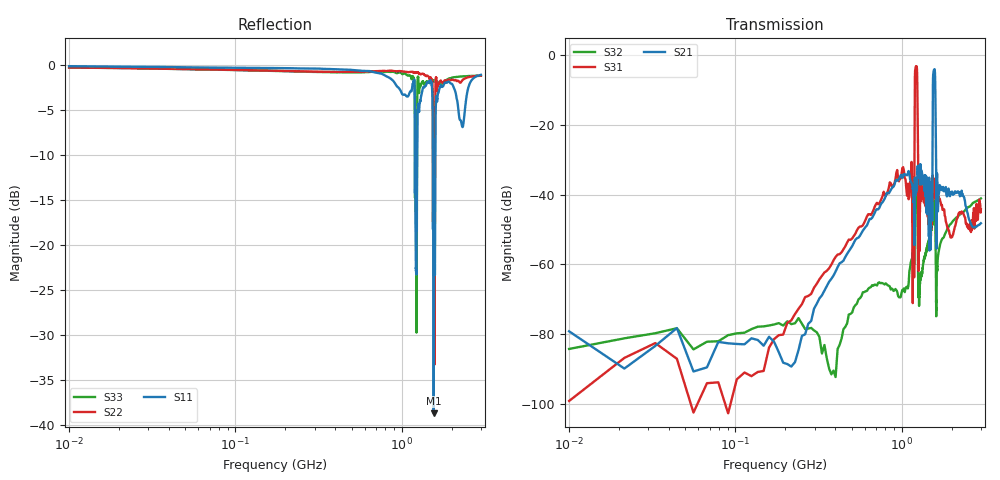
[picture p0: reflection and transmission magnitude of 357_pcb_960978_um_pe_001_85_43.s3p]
! TDS: K:\Engsetup\Winsaw\890084DS_SEG
! Channel 1
! Ports=1 2 3
! seg 1=10.000000 1159.900000 101
! seg 2=1160.000000 1280.000000 650
! seg 3=1280.100000 1499.900000 100
! seg 4=1500.000000 1640.000000 650
! seg 5=1640.100000 3000.000000 100
! Points=1601
! FailCode=43
! Topology=ALL_SE(123)
# MHz S DB R 50
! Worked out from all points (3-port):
!   1601 points, 10 MHz to 3 GHz, reference 50 ohm
!   strongest paths, dB at 10 MHz, 1.215 GHz, 1.389 GHz, 1.575 GHz, 3 GHz:
!     S21: -79.2, -35.6, -40.3, -4.1, -48.2
!     S31: -99.2, -3.4, -42.5, -37.9, -44.3
!     S32: -84.3, -38.3, -57.1, -40.2, -41.1
!   lowest |S11| = -38.7 dB at 1.561 GHz (marker M1), VSWR 1.02, Z = 51.1 + j0.468 ohm
!   |S11| at or under -10 dB: 1.203 GHz to 1.239 GHz (36.43 MHz wide, 2.98 % of centre); 1.542 GHz to 1.594 GHz (52.33 MHz wide, 3.34 % of centre)
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10  -0.18 178.9  -88.18 77.4  -88.77 -30.3
    -79.24 38.5  -0.33 177.2  -79.67 66.0
    -99.21 -135.2  -84.29 127.0  -0.34 177.2
182.485  -0.40 168.9  -81.74 84.3  -81.10 -135.1
         -85.20 68.9  -0.70 139.9  -76.78 51.6
         -80.34 -128.5  -76.88 49.2  -0.73 139.5
849.427  -1.50 91.7  -39.22 134.9  -36.48 130.7
         -39.21 135.0  -0.69 16.9  -65.95 120.4
         -36.50 130.7  -66.38 121.2  -0.82 2.5
1189.584  -1.67 -157.8  -45.99 10.7  -60.21 130.4
          -46.01 10.7  -0.89 -34.6  -53.61 176.5
          -60.23 130.4  -53.57 176.1  -1.62 -136.3
1222.681  -22.79 -179.0  -38.92 66.5  -3.19 -114.4
          -38.93 66.4  -0.91 -38.9  -41.69 -59.9
          -3.20 -114.4  -41.69 -60.1  -19.13 57.7
1264.468  -4.48 -54.0  -33.41 45.3  -57.20 -94.3
          -33.40 45.4  -0.94 -45.3  -67.37 118.5
          -57.16 -94.3  -67.45 117.5  -1.90 8.1
1497.68  -1.79 179.5  -53.64 82.8  -52.81 87.3
         -53.57 82.9  -1.45 -103.2  -50.51 177.3
         -52.85 87.2  -50.60 177.5  -1.77 -59.5
1560.832  -38.70 23.2  -4.44 -85.4  -39.42 51.7
          -4.40 -85.4  -19.32 47.4  -45.57 -35.4
          -39.43 51.5  -45.61 -35.2  -1.83 -66.7
1624.9  -3.52 -103.2  -55.02 -28.2  -38.04 18.2
        -54.99 -28.0  -1.91 -17.1  -63.27 167.5
        -38.05 18.2  -63.21 169.2  -1.91 -73.1
3000  -1.15 -178.5  -48.22 117.3  -44.27 94.6
      -48.24 117.2  -1.25 -119.5  -41.11 139.3
      -44.29 94.6  -41.12 139.4  -1.23 -133.3
